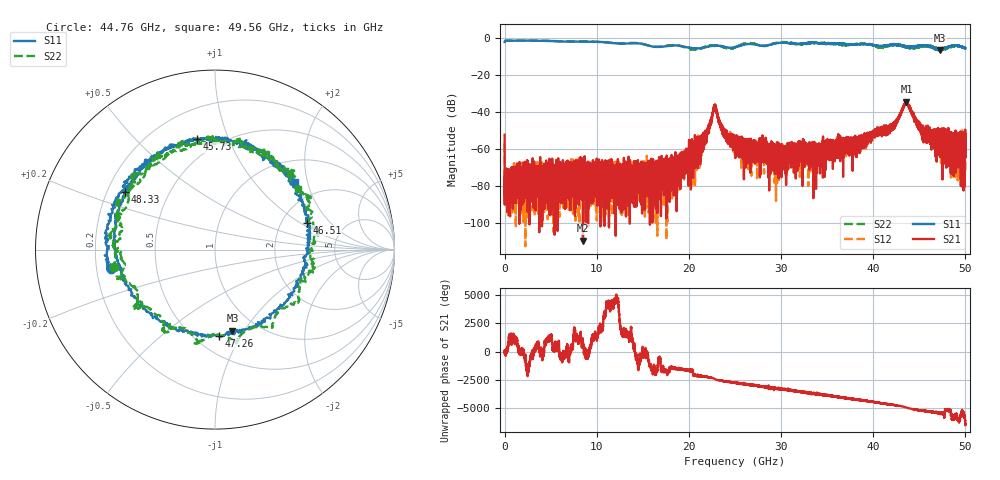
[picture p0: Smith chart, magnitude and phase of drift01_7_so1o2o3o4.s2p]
!Created with skrf (http://scikit-rf.org).
# Hz S RI R 50.0
!freq ReS11 ImS11 ReS21 ImS21 ReS12 ImS12 ReS22 ImS22
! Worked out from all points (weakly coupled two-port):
!   10001 points, 300 kHz to 50 GHz, reference 50 ohm
!   highest |S21| = -34.41 dB at 43.61 GHz (marker M1); lowest = -109.2 dB at 8.505 GHz (marker M2)
!   lowest |S11| = -6.7 dB at 47.2 GHz (marker M3), VSWR 2.72, Z = 38.6 - j44.3 ohm
!   |S11| at or under -10 dB: nowhere
!   |S22| runs from -6.6 to -1.4 dB; largest |S21 - S12| = 0.0043
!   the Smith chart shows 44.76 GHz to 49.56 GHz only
!   S11 on the Smith chart (normalised r, x): 44.76 GHz: 0.26, -0.08; 45.73 GHz: 0.38, +0.77; 46.51 GHz: 2.73, +1.14; 47.26 GHz: 0.64, -0.81; 48.33 GHz: 0.27, +0.27; 49.56 GHz: 1.46, +1.68
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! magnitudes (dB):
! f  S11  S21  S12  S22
! 300 kHz  -2.1  -52.2  -56.9  -2.1
! 360.3 MHz  -1.4  -74.5  -75.8  -1.4
! 8.335 GHz  -1.9  -84.2  -83.0  -1.8
! 8.505 GHz  -2.0  -109.2  -81.6  -1.8
! 16.67 GHz  -4.9  -81.4  -73.6  -4.8
! 20.63 GHz  -5.6  -60.1  -75.4  -6.3
! 21.83 GHz  -5.0  -52.0  -51.3  -4.7
! 22.81 GHz  -4.3  -36.0  -36.2  -4.0
! 23.71 GHz  -4.7  -48.9  -50.4  -5.0
! 25 GHz  -5.0  -53.6  -56.5  -5.1
! 29.27 GHz  -3.1  -60.0  -61.4  -2.9
! 33.34 GHz  -2.6  -58.4  -61.2  -2.7
! 41.67 GHz  -3.9  -49.6  -49.5  -4.4
! 43.61 GHz  -4.6  -34.4  -35.1  -4.9
! 44.76 GHz  -4.6  -47.2  -46.5  -4.9
! 45.73 GHz  -4.1  -54.9  -51.5  -4.1
! 46.51 GHz  -5.5  -54.2  -53.0  -4.9
! 47.2 GHz  -6.7  -53.6  -53.8  -6.1
! 47.26 GHz  -6.3  -50.1  -57.9  -5.6
! 48.33 GHz  -4.5  -55.8  -54.4  -5.1
! 49.56 GHz  -4.7  -56.2  -52.5  -4.9
! 50 GHz  -5.6  -62.6  -52.5  -5.4
